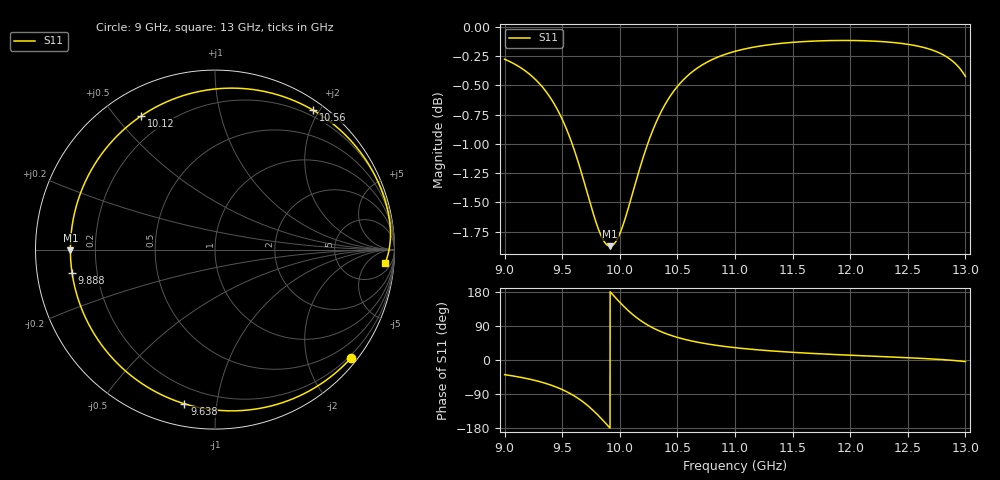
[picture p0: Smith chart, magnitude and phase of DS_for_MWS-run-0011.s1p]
! TOUCHSTONE file generated by CST DESIGN STUDIO
! Date and time: Tue Feb  4 14:03:12 2025
! Project name: C:\Work\MatlabApps\UnitCellOptimizationMatlab\CST\unitcell.cst
! Tree item: Tasks\Sweep1\SPara1\S-Parameters
! Header version: 2024
! Port assignment regex: !\s*Touchstone port\s*([0-9]+)\s*=\s*(CST MWS port|CST DES external port|CST DES block port)\s*(.+)\s* \(\"(.*)\"\)(\s*mode\s*([0-9]+))?.*
! Touchstone port assignment:
! Touchstone port 1 = CST DES external port 1 ("")
# GHz S MA R 50
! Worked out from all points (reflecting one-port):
!   4001 points, 9 GHz to 13 GHz, reference 50 ohm
!   lowest |S11| = -1.9 dB at 9.915 GHz (marker M1), VSWR 9.30, Z = 5.37 - j0.142 ohm
!   phase of S11 starts at -39 deg and turns -326 deg over the sweep
!   S11 on the Smith chart (normalised r, x): 9 GHz: 0.15, -2.84; 9.638 GHz: 0.11, -0.81; 9.888 GHz: 0.11, -0.08; 10.12 GHz: 0.11, +0.58; 10.56 GHz: 0.12, +1.92; 13 GHz: 12, -19
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9  0.9686 -38.7
9.148  0.96 -46.2
9.282  0.948 -55.3
9.396  0.9328 -65.6
9.5  0.9131 -78.0
9.574  0.8947 -89.3
9.638  0.8757 -101.2
9.701  0.8549 -115.2
9.761  0.8349 -130.9
9.83  0.8158 -151.5
9.888  0.8069 -170.6
9.915  0.8059 -179.7
9.956  0.8083 166.5
10  0.8158 152.2
10.059  0.8319 134.3
10.116  0.8507 119.0
10.186  0.8741 103.0
10.266  0.8979 88.1
10.378  0.9236 72.3
10.5  0.943 59.7
10.558  0.9499 54.9
10.752  0.9655 42.8
11  0.9761 32.6
11.5  0.9848 20.3
12  0.9866 12.6
12.5  0.9828 6.0
12.792  0.9737 1.2
13  0.9523 -4.3
